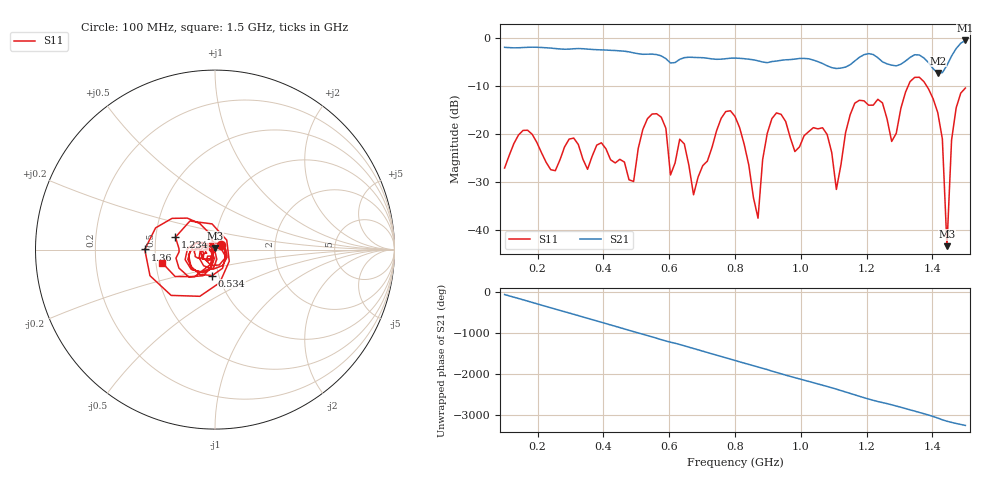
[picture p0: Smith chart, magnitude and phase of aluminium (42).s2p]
! NanoVNA-App
! Date: 2025-09-26 09:58:23
! Start: 100MHz Stop: 1,5GHz Points: 101
! S-Parameter data: F S11 S21 S12 S22
# Hz S RI R 50
!  Frequency  S11_Real  S11_Imag  S21_Real  S21_Imag  S12_Real  S12_Imag  S22_Real  S22_Imag
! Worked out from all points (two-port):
!   101 points, 100 MHz to 1.5 GHz, reference 50 ohm
!   highest |S21| = -0.49 dB at 1.5 GHz (marker M1); lowest = -7.3 dB at 1.416 GHz (marker M2)
!   |S21| within 3 dB of the highest: start of sweep to 565.3 MHz; 1.191 GHz to 1.221 GHz (30.48 MHz wide, 2.53 % of centre)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
!   lowest |S11| = -43.3 dB at 1.444 GHz (marker M3), VSWR 1.01, Z = 49.9 + j0.669 ohm
!   |S11| at or under -10 dB: start of sweep to 1.326 GHz; 1.383 GHz to end of sweep
!   S12 and S22 are empty: the file has one direction only
!   S11 on the Smith chart (normalised r, x): 100 MHz: 1.07, +0.06; 534 MHz: 0.93, -0.27; 1.234 GHz: 0.63, +0.09; 1.36 GHz: 0.44, +0.00; 1.5 GHz: 0.54, -0.09
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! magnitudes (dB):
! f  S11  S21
! 100 MHz  -27.0  -1.9
! 338 MHz  -25.2  -2.2
! 492 MHz  -29.8  -3.1
! 534 MHz  -16.8  -3.3
! 576 MHz  -16.5  -3.7
! 604 MHz  -28.5  -5.2
! 632 MHz  -21.0  -4.4
! 674 MHz  -32.6  -4.0
! 800 MHz  -16.3  -4.2
! 870 MHz  -37.5  -4.7
! 912 MHz  -16.8  -4.9
! 1.038 GHz  -18.6  -4.6
! 1.108 GHz  -31.5  -6.3
! 1.164 GHz  -13.5  -4.8
! 1.234 GHz  -12.7  -4.1
! 1.276 GHz  -21.5  -5.6
! 1.36 GHz  -8.1  -3.5
! 1.416 GHz  -15.5  -7.3
! 1.43 GHz  -21.0  -7.2
! 1.444 GHz  -43.3  -5.7
! 1.458 GHz  -21.2  -3.7
! 1.5 GHz  -10.4  -0.5
